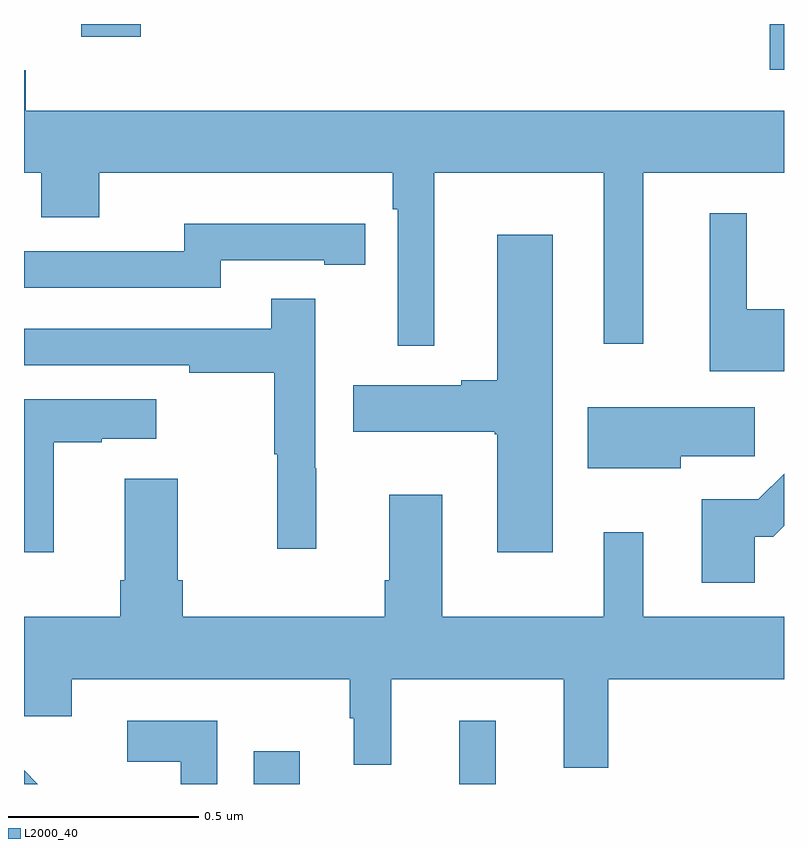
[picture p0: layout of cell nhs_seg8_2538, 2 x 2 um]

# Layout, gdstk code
import gdstk
lib = gdstk.Library(unit=1e-6, precision=1e-09)
def R(c, l, rs):  # rectangles x0, y0, x1, y1
    for r in rs: c.add(gdstk.rectangle(r[:2], r[2:], *l))
def P(c, l, *ps):  # polygons
    for p in ps: c.add(gdstk.Polygon(p, *l))
L2000_40 = (2000, 40)

nhs_seg8_2538 = lib.new_cell('nhs_seg8_2538')
R(nhs_seg8_2538, L2000_40, [(145.604,1106.9,145.726,1106.986), (146.145,1106.9,146.242,1107.067), (146.963,1108.779,147,1108.9), (145.151,1108.866,145.307,1108.9)])
P(nhs_seg8_2538, L2000_40, [(146.08,1108.508),(146.525,1108.508),(146.525,1108.059),(146.629,1108.059),(146.629,1108.508),(147,1108.508),(147,1108.672),(145.004,1108.672),(145.004,1108.778),(145,1108.778),(145,1108.508),(145.046,1108.508),(145.046,1108.391),(145.198,1108.391),(145.198,1108.508),(145.97,1108.508),(145.97,1108.412),(145.983,1108.412),(145.983,1108.053),(146.08,1108.053)],
  [(147,1108.15),(146.902,1108.15),(146.902,1108.402),(146.804,1108.402),(146.804,1107.986),(147,1107.986)],
  [(145.518,1108.278),(145.79,1108.278),(145.79,1108.266),(145.898,1108.266),(145.898,1108.374),(145.79,1108.374),(145.79,1108.375),(145.422,1108.375),(145.422,1108.302),(145,1108.302),(145,1108.206),(145.518,1108.206)],
  [(146.392,1108.345),(146.246,1108.345),(146.246,1107.962),(146.15,1107.962),(146.15,1107.949),(145.866,1107.949),(145.866,1107.827),(146.239,1107.827),(146.239,1107.82),(146.246,1107.82),(146.246,1107.51),(146.392,1107.51)],
  [(145.769,1107.731),(145.767,1107.731),(145.767,1108.177),(145.651,1108.177),(145.651,1108.098),(145,1108.098),(145,1108.002),(145.435,1108.002),(145.435,1107.982),(145.659,1107.982),(145.659,1107.768),(145.666,1107.768),(145.666,1107.519),(145.769,1107.519)],
  [(145.078,1107.799),(145.205,1107.799),(145.205,1107.809),(145.348,1107.809),(145.348,1107.913),(145,1107.913),(145,1107.51),(145.078,1107.51)],
  [(146.728,1107.763),(146.923,1107.763),(146.923,1107.892),(146.484,1107.892),(146.484,1107.731),(146.728,1107.731)],
  [(146.923,1107.551),(146.972,1107.551),(147,1107.579),(147,1107.717),(146.932,1107.649),(146.783,1107.649),(146.783,1107.429),(146.923,1107.429)],
  [(146.537,1107.176),(147,1107.176),(147,1107.34),(146.629,1107.34),(146.629,1107.562),(146.525,1107.562),(146.525,1107.34),(146.101,1107.34),(146.101,1107.661),(145.961,1107.661),(145.961,1107.436),(145.949,1107.436),(145.949,1107.34),(145.418,1107.34),(145.418,1107.436),(145.405,1107.436),(145.405,1107.703),(145.265,1107.703),(145.265,1107.436),(145.253,1107.436),(145.253,1107.34),(145,1107.34),(145,1107.078),(145.126,1107.078),(145.126,1107.176),(145.857,1107.176),(145.857,1107.073),(145.868,1107.073),(145.868,1106.951),(145.967,1106.951),(145.967,1107.176),(146.42,1107.176),(146.42,1106.943),(146.537,1106.943)],
  [(145.509,1107.066),(145.272,1107.066),(145.272,1106.958),(145.412,1106.958),(145.412,1106.9),(145.509,1106.9)],
  [(145,1106.936),(145,1106.9),(145.036,1106.9)])

lib.write_gds('nhs_seg8_2538.gds')
